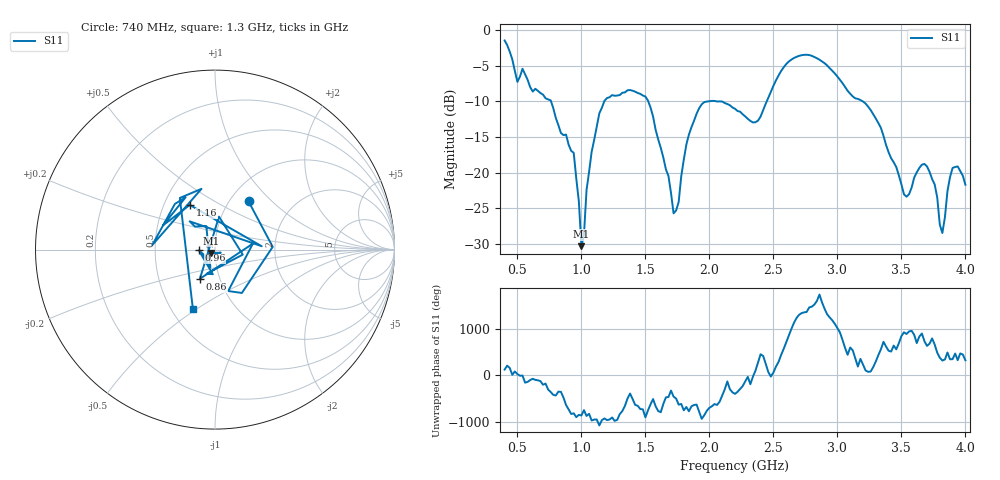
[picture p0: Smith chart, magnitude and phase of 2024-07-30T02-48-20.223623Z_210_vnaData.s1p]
!Created with skrf (http://scikit-rf.org).
# Hz S RI R 50.0
!freq ReS11 ImS11
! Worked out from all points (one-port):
!   181 points, 400 MHz to 4 GHz, reference 50 ohm
!   lowest |S11| = -30.4 dB at 1 GHz (marker M1), VSWR 1.06, Z = 47.7 - j1.81 ohm
!   |S11| at or under -10 dB: 762.9 MHz to 1.178 GHz (415.4 MHz wide, 42.8 % of centre); 1.523 GHz to 1.986 GHz (463.5 MHz wide, 26.4 % of centre); 3.199 GHz to end of sweep (the widest 3 of 5)
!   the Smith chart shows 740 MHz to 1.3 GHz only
!   S11 on the Smith chart (normalised r, x): 740 MHz: 1.22, +0.73; 860 MHz: 0.80, -0.27; 960 MHz: 0.83, -0.01; 1.16 GHz: 0.67, +0.37; 1.3 GHz: 0.64, -0.48
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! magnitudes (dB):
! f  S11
! 400 MHz  -1.4
! 500 MHz  -7.2
! 540 MHz  -5.4
! 740 MHz  -9.7
! 860 MHz  -14.7
! 940 MHz  -17.2
! 960 MHz  -20.8
! 1 GHz  -30.4
! 1.08 GHz  -17.1
! 1.16 GHz  -10.9
! 1.3 GHz  -9.1
! 1.52 GHz  -9.9
! 1.68 GHz  -20.5
! 1.72 GHz  -25.7
! 1.76 GHz  -24.1
! 1.82 GHz  -16.1
! 1.92 GHz  -10.9
! 2.2 GHz  -11.0
! 2.38 GHz  -12.7
! 2.66 GHz  -3.9
! 3.1 GHz  -8.9
! 3.3 GHz  -12.4
! 3.56 GHz  -23.0
! 3.7 GHz  -19.1
! 3.76 GHz  -21.7
! 3.82 GHz  -28.5
! 3.9 GHz  -19.3
! 4 GHz  -21.7
